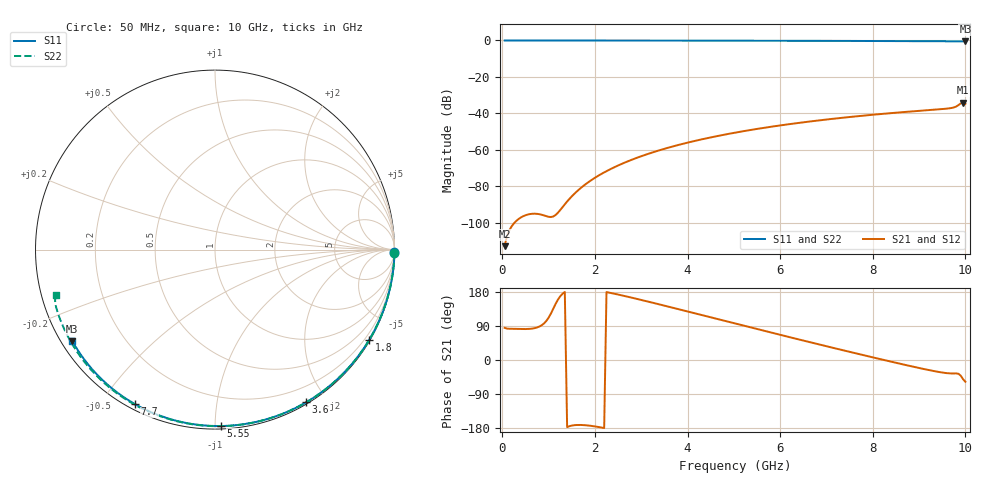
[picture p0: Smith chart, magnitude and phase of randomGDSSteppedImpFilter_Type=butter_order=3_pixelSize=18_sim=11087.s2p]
! freq	dB(S11)	phase(S11)	dB(S12)	phase(S12)
!  dB(S21)	phase(S21)	dB(S22)	phase(S22)
!S-par simulation data
#  GHz  S  DB  R 50
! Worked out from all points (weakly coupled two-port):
!   200 points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, 50 MHz to 10 GHz, reference 50 ohm
!   highest |S21| = -34.19 dB at 9.95 GHz (marker M1); lowest = -112.8 dB at 50 MHz (marker M2)
!   lowest |S11| = -0.5 dB at 10 GHz (marker M3), VSWR 35.58, Z = 1.53 - j14.7 ohm
!   |S11| at or under -10 dB: nowhere
!   |S22| runs from -0.8 to 0.0 dB; largest |S21 - S12| = 0
!   S11 on the Smith chart (normalised r, x): 50 MHz: open; 1.8 GHz: 0.03, -3.69; 3.6 GHz: 0.02, -1.76; 5.55 GHz: 0.02, -1.03; 7.7 GHz: 0.02, -0.61; 10 GHz: 0.03, -0.29
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0.05  -0.00 -0.9  -112.78 84.9  -112.78 84.9  -0.00 -0.9
0.85  -0.02 -14.5  -95.55 91.7  -95.55 91.7  -0.02 -15.9
1.7  -0.04 -28.7  -80.77 -171.4  -80.77 -171.4  -0.04 -31.5
1.75  -0.04 -29.5  -79.75 -171.7  -79.75 -171.7  -0.04 -32.4
1.8  -0.04 -30.3  -78.78 -172.2  -78.78 -172.2  -0.04 -33.3
2.1  -0.04 -35.3  -73.76 -177.3  -73.76 -177.3  -0.05 -38.7
2.5  -0.05 -41.8  -68.55 172.8  -68.55 172.8  -0.06 -45.8
2.9  -0.06 -48.2  -64.39 161.5  -64.39 161.5  -0.07 -52.8
3.4  -0.07 -56.1  -60.15 146.5  -60.15 146.5  -0.08 -61.5
3.6  -0.08 -59.2  -58.68 140.4  -58.68 140.4  -0.09 -64.9
4.3  -0.10 -69.8  -54.25 118.8  -54.25 118.8  -0.11 -76.6
5.05  -0.12 -80.9  -50.44 95.6  -50.44 95.6  -0.14 -88.7
5.55  -0.14 -88.0  -48.30 80.2  -48.30 80.2  -0.16 -96.6
6.7  -0.20 -104.0  -44.24 45.3  -44.24 45.3  -0.22 -114.4
7.7  -0.27 -117.4  -41.46 15.6  -41.46 15.6  -0.30 -129.5
8.35  -0.32 -125.9  -39.93 -3.1  -39.93 -3.1  -0.36 -139.4
9  -0.38 -134.3  -38.58 -21.1  -38.58 -21.1  -0.43 -149.3
9.65  -0.46 -142.7  -37.22 -35.2  -37.22 -35.2  -0.52 -159.8
9.8  -0.47 -144.6  -36.25 -35.4  -36.25 -35.4  -0.59 -162.5
9.9  -0.48 -145.9  -34.47 -41.4  -34.47 -41.4  -0.77 -163.9
9.95  -0.48 -146.6  -34.19 -50.8  -34.19 -50.8  -0.79 -163.9
10  -0.49 -147.3  -34.73 -57.3  -34.73 -57.3  -0.72 -164.2
